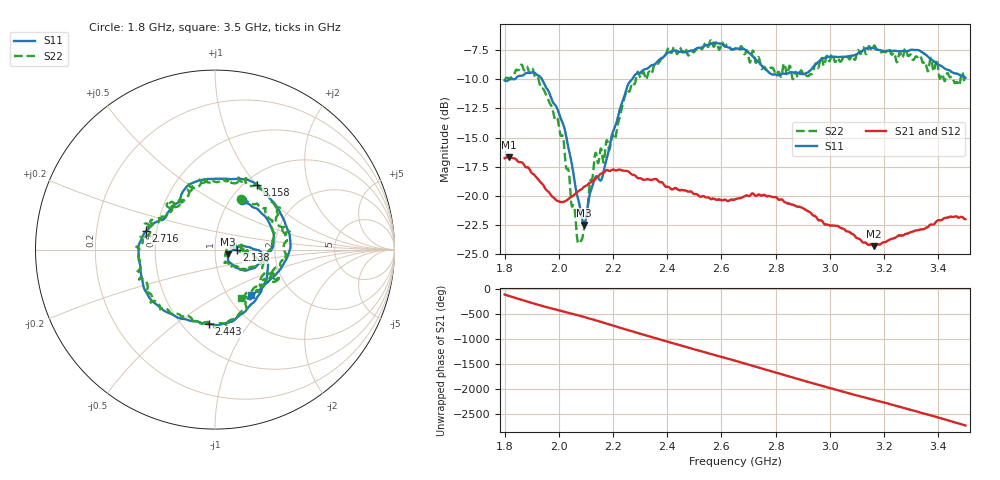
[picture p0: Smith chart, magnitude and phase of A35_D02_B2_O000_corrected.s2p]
! Created with skrf 1.9.0 (http://scikit-rf.org).
# Hz S RI R 50.0
!freq ReS11 ImS11 ReS21 ImS21 ReS12 ImS12 ReS22 ImS22
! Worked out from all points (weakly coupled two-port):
!   1601 points, 1.8 GHz to 3.5 GHz, reference 50 ohm
!   highest |S21| = -16.66 dB at 1.817 GHz (marker M1); lowest = -24.3 dB at 3.162 GHz (marker M2)
!   lowest |S11| = -22.5 dB at 2.093 GHz (marker M3), VSWR 1.16, Z = 57.5 - j3.04 ohm
!   |S11| at or under -10 dB: start of sweep to 1.82 GHz; 1.83375 GHz to 1.834247 GHz (496.5 kHz wide, 0.0271 % of centre); 1.938 GHz to 2.27 GHz (332.1 MHz wide, 15.8 % of centre)
!   |S22| runs from -24.1 to -6.7 dB; largest |S21 - S12| = 0.0024
!   S11 on the Smith chart (normalised r, x): 1.8 GHz: 1.13, +0.69; 2.138 GHz: 1.28, -0.00; 2.443 GHz: 0.67, -0.67; 2.716 GHz: 0.44, +0.11; 3.158 GHz: 1.14, +1.01; 3.5 GHz: 1.28, -0.71
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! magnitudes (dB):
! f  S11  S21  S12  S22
! 1.8 GHz  -10.1  -16.8  -16.8  -10.0
! 1.817 GHz  -10.0  -16.7  -16.7  -9.9
! 1.902 GHz  -9.4  -18.1  -18.0  -9.1
! 1.967 GHz  -11.3  -19.8  -19.8  -12.0
! 2.021 GHz  -14.2  -20.5  -20.5  -16.1
! 2.07 GHz  -20.1  -19.6  -19.7  -24.0
! 2.084 GHz  -21.7  -19.4  -19.4  -23.7
! 2.093 GHz  -22.5  -19.2  -19.3  -22.7
! 2.138 GHz  -18.3  -18.5  -18.5  -16.4
! 2.16 GHz  -18.4  -18.1  -18.0  -16.5
! 2.208 GHz  -14.0  -17.8  -17.8  -15.1
! 2.258 GHz  -10.3  -17.9  -17.9  -11.0
! 2.367 GHz  -8.4  -18.7  -18.7  -8.6
! 2.443 GHz  -7.6  -19.5  -19.5  -7.4
! 2.65 GHz  -7.4  -20.3  -20.3  -7.4
! 2.716 GHz  -8.0  -19.8  -19.8  -7.5
! 2.788 GHz  -9.6  -20.1  -20.1  -9.0
! 2.934 GHz  -9.1  -21.6  -21.5  -9.6
! 3.158 GHz  -7.3  -24.2  -24.2  -7.4
! 3.162 GHz  -7.3  -24.3  -24.2  -7.1
! 3.217 GHz  -7.6  -23.8  -23.8  -7.3
! 3.5 GHz  -9.9  -22.0  -22.0  -10.3
